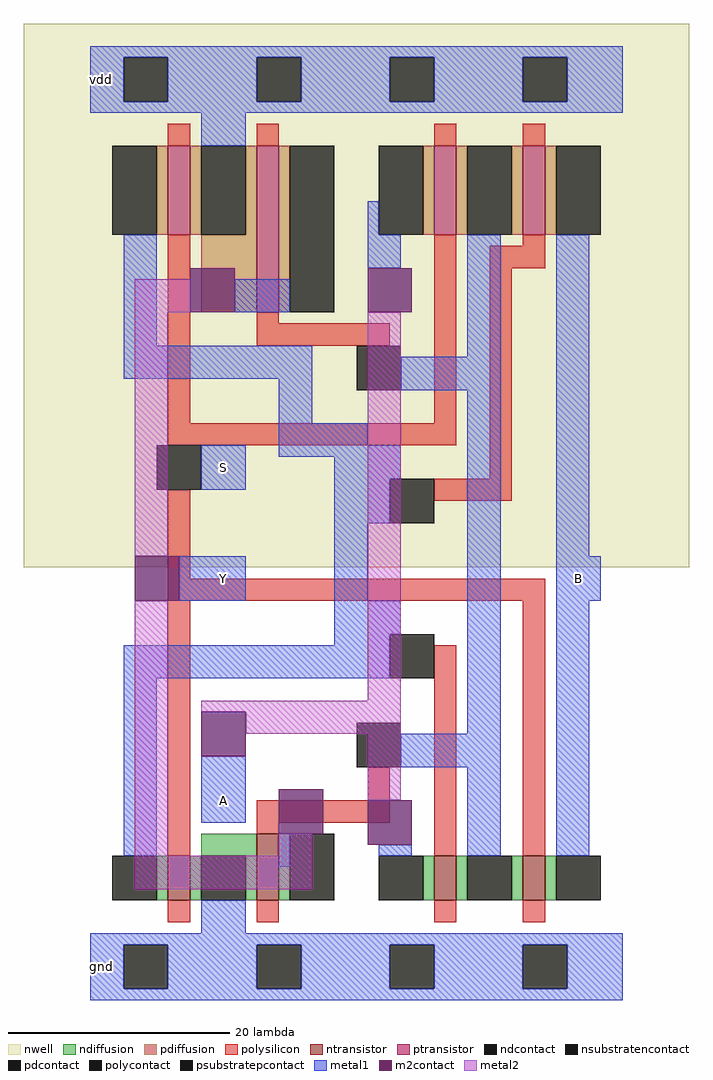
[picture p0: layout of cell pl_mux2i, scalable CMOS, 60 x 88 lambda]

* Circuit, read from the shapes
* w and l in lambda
.subckt pl_mux2i A B S Y vdd gnd
M1 gnd S n1 gnd nfet w=4 l=2
M2 Y n2 gnd gnd nfet w=6 l=2
M3 n2 n1 A gnd nfet w=4 l=2
M4 B S n2 gnd nfet w=4 l=2
M5 vdd S n1 vdd pfet w=8 l=2
M6 Y n2 vdd vdd pfet w=15 l=2
M7 n2 S A vdd pfet w=8 l=2
M8 B n1 n2 vdd pfet w=8 l=2
.ends

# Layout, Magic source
magic
tech scmos
<< nwell >>
rect -6 36 54 85
<< ndiffusion >>
rect 6 6 7 10
rect 9 6 10 10
rect 14 6 15 10
rect 17 6 18 12
rect 30 6 31 10
rect 33 6 34 10
rect 38 6 39 10
rect 41 6 42 10
rect 10 10 15 12
<< pdiffusion >>
rect 10 59 15 66
rect 17 59 18 74
rect 6 66 7 74
rect 9 66 10 74
rect 14 66 15 74
rect 30 66 31 74
rect 33 66 34 74
rect 38 66 39 74
rect 41 66 42 74
<< polysilicon >>
rect 7 4 9 6
rect 15 4 17 6
rect 31 4 33 6
rect 39 4 41 6
rect 7 10 9 33
rect 31 10 33 29
rect 39 10 41 33
rect 15 12 17 13
rect 15 13 27 15
rect 25 15 27 18
rect 7 33 41 35
rect 7 35 9 43
rect 31 42 38 44
rect 36 44 38 63
rect 7 47 33 49
rect 7 49 9 66
rect 31 49 33 66
rect 15 56 27 58
rect 15 58 17 59
rect 36 63 41 65
rect 39 65 41 66
rect 7 74 9 76
rect 15 74 17 76
rect 31 74 33 76
rect 39 74 41 76
<< ntransistor >>
rect 7 6 9 10
rect 15 6 17 12
rect 31 6 33 10
rect 39 6 41 10
<< ptransistor >>
rect 15 59 17 74
rect 7 66 9 74
rect 31 66 33 74
rect 39 66 41 74
<< ndcontact >>
rect 2 6 6 10
rect 10 6 14 10
rect 18 6 22 12
rect 26 6 30 10
rect 34 6 38 10
rect 42 6 46 10
<< pdcontact >>
rect 18 59 22 74
rect 2 66 6 74
rect 10 66 14 74
rect 26 66 30 74
rect 34 66 38 74
rect 42 66 46 74
<< polycontact >>
rect 24 18 28 22
rect 27 26 31 30
rect 27 40 31 44
rect 6 43 10 47
rect 24 52 28 56
<< psubstratepcontact >>
rect 3 -2 7 2
rect 15 -2 19 2
rect 27 -2 31 2
rect 39 -2 43 2
<< nsubstratencontact >>
rect 3 78 7 82
rect 15 78 19 82
rect 27 78 31 82
rect 39 78 43 82
<< metal1 >>
rect 0 -3 48 -2
rect 0 -2 3 2
rect 7 -2 15 2
rect 19 -2 27 2
rect 31 -2 39 2
rect 43 -2 48 2
rect 0 2 48 3
rect 10 3 14 6
rect 17 9 18 12
rect 3 10 6 26
rect 26 10 29 11
rect 34 10 37 18
rect 42 10 45 33
rect 10 13 14 19
rect 28 18 37 21
rect 34 21 37 52
rect 3 26 27 29
rect 22 29 27 30
rect 22 30 28 33
rect 8 33 14 37
rect 22 33 25 40
rect 42 33 46 37
rect 42 37 45 66
rect 22 40 27 44
rect 10 43 14 47
rect 22 44 28 46
rect 17 46 28 47
rect 17 47 25 49
rect 17 49 20 53
rect 28 52 37 55
rect 3 53 20 56
rect 34 55 37 66
rect 3 56 6 66
rect 13 59 18 62
rect 25 63 28 66
rect 25 66 26 69
rect 10 74 14 77
rect 0 77 48 78
rect 0 78 3 82
rect 7 78 15 82
rect 19 78 27 82
rect 31 78 39 82
rect 43 78 48 82
rect 0 82 48 83
<< m2contact >>
rect 25 11 29 15
rect 17 12 21 16
rect 10 19 14 23
rect 4 33 8 37
rect 9 59 13 63
rect 25 59 29 63
<< metal2 >>
rect 4 7 20 10
rect 4 10 7 33
rect 17 10 20 12
rect 25 15 28 21
rect 14 21 28 23
rect 10 23 28 24
rect 25 24 28 59
rect 4 37 7 59
rect 4 59 9 62
<< labels >>
rlabel metal1 s 10 13 14 17 0 A
port 1 nsew signal input
rlabel metal1 s 42 33 46 37 0 B
port 2 nsew signal input
rlabel metal1 s 10 43 14 47 0 S
port 3 nsew signal input
rlabel metal1 s 10 33 14 37 0 Y
port 4 nsew signal output
rlabel metal1 s 0 77 2 83 0 vdd
port 5 nsew power bidirectional
rlabel metal1 s 0 -3 2 3 0 gnd
port 6 nsew ground bidirectional
<< properties >>
string FIXED_BBOX 0 0 48 80
<< end >>
